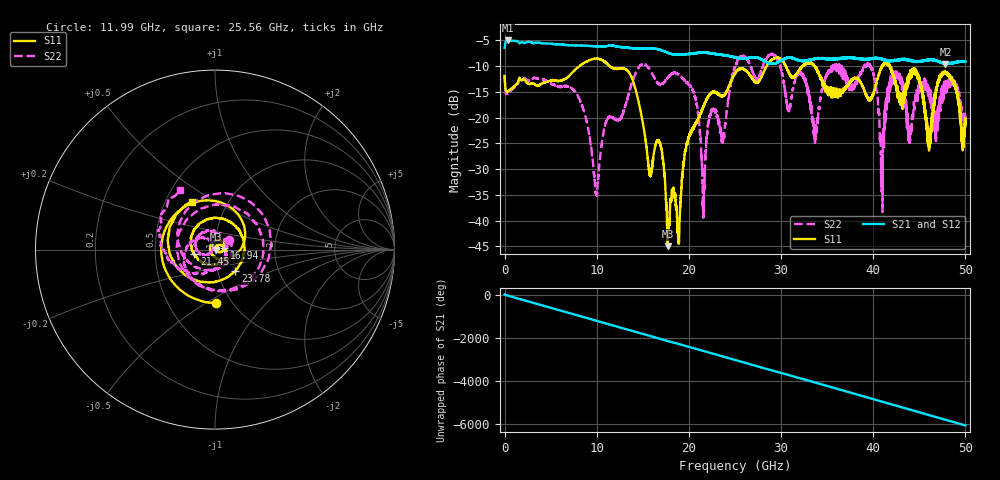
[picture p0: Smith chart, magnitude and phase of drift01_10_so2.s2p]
!Created with skrf (http://scikit-rf.org).
# Hz S RI R 50.0
!freq ReS11 ImS11 ReS21 ImS21 ReS12 ImS12 ReS22 ImS22
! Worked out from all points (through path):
!   10001 points, 300 kHz to 50 GHz, reference 50 ohm
!   highest |S21| = -5.05 dB at 325.3 MHz (marker M1); lowest = -9.7 dB at 47.84 GHz (marker M2)
!   group delay of S21, straight-line fit = 336 ps
!   lowest |S11| = -45.0 dB at 17.69 GHz (marker M3), VSWR 1.01, Z = 50.6 - j0.0969 ohm
!   |S11| at or under -10 dB: start of sweep to 8.141 GHz; 11.39 GHz to 28.44 GHz (17.05 GHz wide, 85.6 % of centre); 41.79 GHz to end of sweep (the widest 3 of 12)
!   |S22| runs from -39.4 to -7.6 dB; largest |S21 - S12| = 0.011
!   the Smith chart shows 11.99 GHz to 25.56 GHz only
!   S11 on the Smith chart (normalised r, x): 11.99 GHz: 0.85, -0.55; 16.94 GHz: 1.11, +0.02; 21.45 GHz: 0.79, -0.04; 23.78 GHz: 1.22, -0.30; 25.56 GHz: 0.68, +0.40
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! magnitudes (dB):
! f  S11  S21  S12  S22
! 300 kHz  -11.9  -6.5  -6.5  -11.8
! 325.3 MHz  -14.9  -5.0  -5.1  -15.4
! 8.335 GHz  -9.7  -6.0  -6.0  -17.5
! 9.935 GHz  -8.6  -6.2  -6.2  -34.6
! 11.99 GHz  -10.5  -6.1  -6.1  -20.3
! 15.77 GHz  -31.2  -6.6  -6.5  -10.8
! 16.67 GHz  -24.4  -6.8  -6.8  -13.4
! 16.94 GHz  -25.5  -6.9  -6.9  -13.5
! 17.69 GHz  -45.0  -7.4  -7.4  -12.3
! 20.5 GHz  -22.0  -7.6  -7.6  -15.1
! 21.45 GHz  -18.6  -7.4  -7.4  -30.8
! 22.45 GHz  -15.1  -7.5  -7.5  -18.6
! 23.78 GHz  -15.7  -7.9  -7.9  -23.1
! 25 GHz  -11.4  -8.4  -8.4  -10.4
! 25.56 GHz  -10.6  -8.6  -8.6  -8.3
! 33.34 GHz  -9.6  -8.7  -8.7  -19.4
! 39.49 GHz  -16.5  -8.6  -8.6  -9.9
! 40.94 GHz  -10.0  -8.6  -8.7  -29.1
! 41.67 GHz  -9.9  -8.9  -9.0  -14.6
! 46.05 GHz  -25.0  -8.9  -8.9  -14.2
! 47.84 GHz  -11.2  -9.7  -9.6  -14.1
! 50 GHz  -21.1  -9.2  -9.2  -20.1
